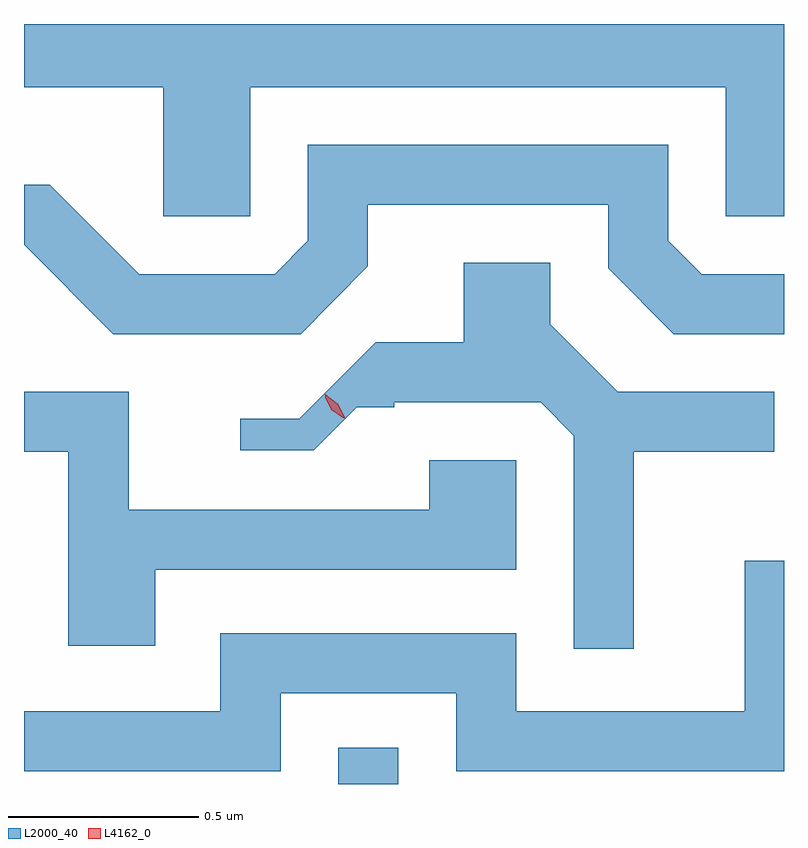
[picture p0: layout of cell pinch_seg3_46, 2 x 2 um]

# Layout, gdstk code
import gdstk
lib = gdstk.Library(unit=1e-6, precision=1e-09)
def R(c, l, rs):  # rectangles x0, y0, x1, y1
    for r in rs: c.add(gdstk.rectangle(r[:2], r[2:], *l))
def P(c, l, *ps):  # polygons
    for p in ps: c.add(gdstk.Polygon(p, *l))
L2000_40 = (2000, 40)
L4162_0 = (4162, 0)

pinch_seg3_46 = lib.new_cell('pinch_seg3_46')
R(pinch_seg3_46, L2000_40, [(1908.651,1206.322,1908.809,1206.418)])
P(pinch_seg3_46, L2000_40, [(1908.419,1208.156),(1909.671,1208.156),(1909.671,1207.816),(1909.824,1207.816),(1909.824,1208.322),(1907.824,1208.322),(1907.824,1208.156),(1908.191,1208.156),(1908.191,1207.816),(1908.419,1207.816)],
  [(1908.729,1207.684),(1908.729,1207.846),(1909.361,1207.846),(1909.361,1207.679),(1909.534,1207.506),(1909.824,1207.506),(1909.824,1207.664),(1909.607,1207.664),(1909.519,1207.752),(1909.519,1208.004),(1908.571,1208.004),(1908.571,1207.752),(1908.484,1207.664),(1908.127,1207.664),(1907.892,1207.899),(1907.824,1207.899),(1907.824,1207.741),(1908.059,1207.506),(1908.552,1207.506)],
  [(1909.429,1207.196),(1909.798,1207.196),(1909.798,1207.354),(1909.387,1207.354),(1909.209,1207.532),(1909.209,1207.694),(1908.981,1207.694),(1908.981,1207.484),(1908.749,1207.484),(1908.548,1207.283),(1908.393,1207.283),(1908.393,1207.2),(1908.586,1207.2),(1908.7,1207.314),(1908.798,1207.314),(1908.798,1207.326),(1909.184,1207.326),(1909.271,1207.239),(1909.271,1206.678),(1909.429,1206.678)],
  [(1908.169,1206.886),(1909.119,1206.886),(1909.119,1207.174),(1908.891,1207.174),(1908.891,1207.044),(1908.099,1207.044),(1908.099,1207.354),(1907.824,1207.354),(1907.824,1207.196),(1907.941,1207.196),(1907.941,1206.686),(1908.169,1206.686)],
  [(1908.499,1206.561),(1908.961,1206.561),(1908.961,1206.356),(1909.824,1206.356),(1909.824,1206.909),(1909.721,1206.909),(1909.721,1206.514),(1909.119,1206.514),(1909.119,1206.719),(1908.341,1206.719),(1908.341,1206.514),(1907.824,1206.514),(1907.824,1206.356),(1908.499,1206.356)])
P(pinch_seg3_46, L4162_0, [(1908.669,1207.283),(1908.635,1207.309),(1908.616,1207.347),(1908.616,1207.348),(1908.617,1207.348),(1908.651,1207.322),(1908.67,1207.284),(1908.67,1207.283)],
  [(1908.663,1207.286),(1908.633,1207.307),(1908.617,1207.34),(1908.617,1207.341),(1908.618,1207.341),(1908.648,1207.32),(1908.664,1207.287),(1908.664,1207.286)])

lib.write_gds('pinch_seg3_46.gds')
